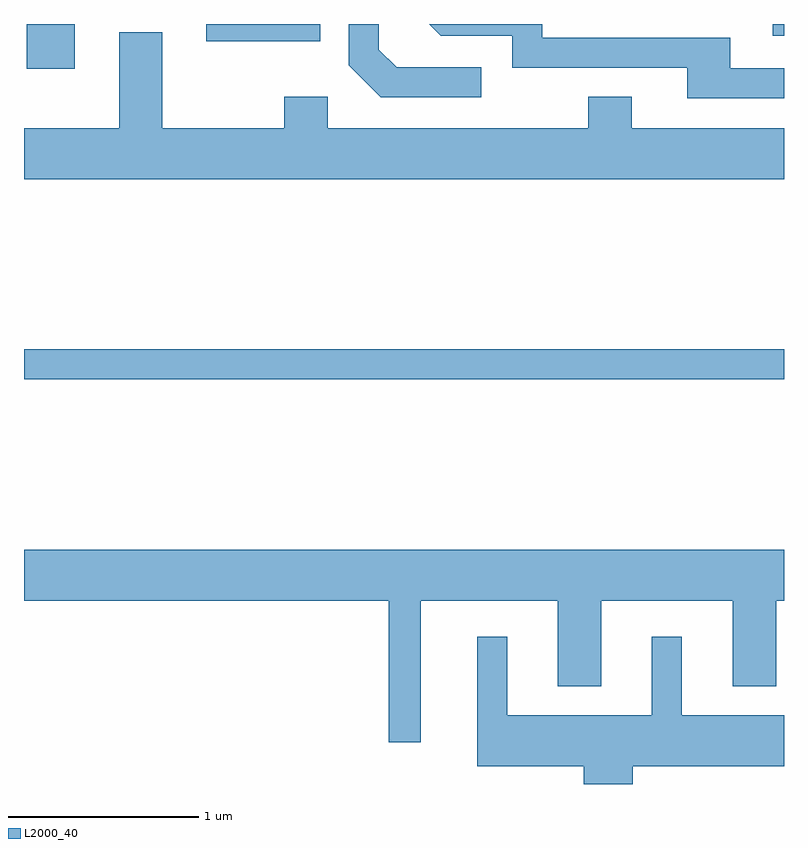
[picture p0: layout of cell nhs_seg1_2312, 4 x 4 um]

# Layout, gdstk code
import gdstk
lib = gdstk.Library(unit=1e-6, precision=1e-09)
def R(c, l, rs):  # rectangles x0, y0, x1, y1
    for r in rs: c.add(gdstk.rectangle(r[:2], r[2:], *l))
def P(c, l, *ps):  # polygons
    for p in ps: c.add(gdstk.Polygon(p, *l))
L2000_40 = (2000, 40)

nhs_seg1_2312 = lib.new_cell('nhs_seg1_2312')
R(nhs_seg1_2312, L2000_40, [(255.611,911.841,259.611,911.999), (255.626,913.476,255.879,913.712), (256.571,913.621,257.169,913.712), (259.551,913.651,259.611,913.712)])
P(nhs_seg1_2312, L2000_40, [(259.611,913.479),(259.329,913.479),(259.329,913.639),(258.339,913.639),(258.339,913.712),(257.743,913.712),(257.804,913.651),(258.181,913.651),(258.181,913.481),(259.101,913.481),(259.101,913.321),(259.611,913.321)],
  [(258.017,913.484),(257.572,913.484),(257.479,913.577),(257.479,913.712),(257.321,913.712),(257.321,913.494),(257.489,913.326),(258.017,913.326)],
  [(259.611,913.164),(258.809,913.164),(258.809,913.329),(258.581,913.329),(258.581,913.164),(257.209,913.164),(257.209,913.329),(256.981,913.329),(256.981,913.164),(256.339,913.164),(256.339,913.669),(256.111,913.669),(256.111,913.164),(255.611,913.164),(255.611,912.896),(259.611,912.896)],
  [(257.699,910.676),(258.421,910.676),(258.421,910.226),(258.649,910.226),(258.649,910.676),(259.341,910.676),(259.341,910.226),(259.569,910.226),(259.569,910.676),(259.611,910.676),(259.611,910.944),(255.611,910.944),(255.611,910.676),(257.531,910.676),(257.531,909.933),(257.699,909.933)],
  [(258.814,909.806),(259.611,909.806),(259.611,910.074),(259.074,910.074),(259.074,910.488),(258.916,910.488),(258.916,910.074),(258.154,910.074),(258.154,910.488),(257.996,910.488),(257.996,909.806),(258.556,909.806),(258.556,909.712),(258.814,909.712)])

lib.write_gds('nhs_seg1_2312.gds')
